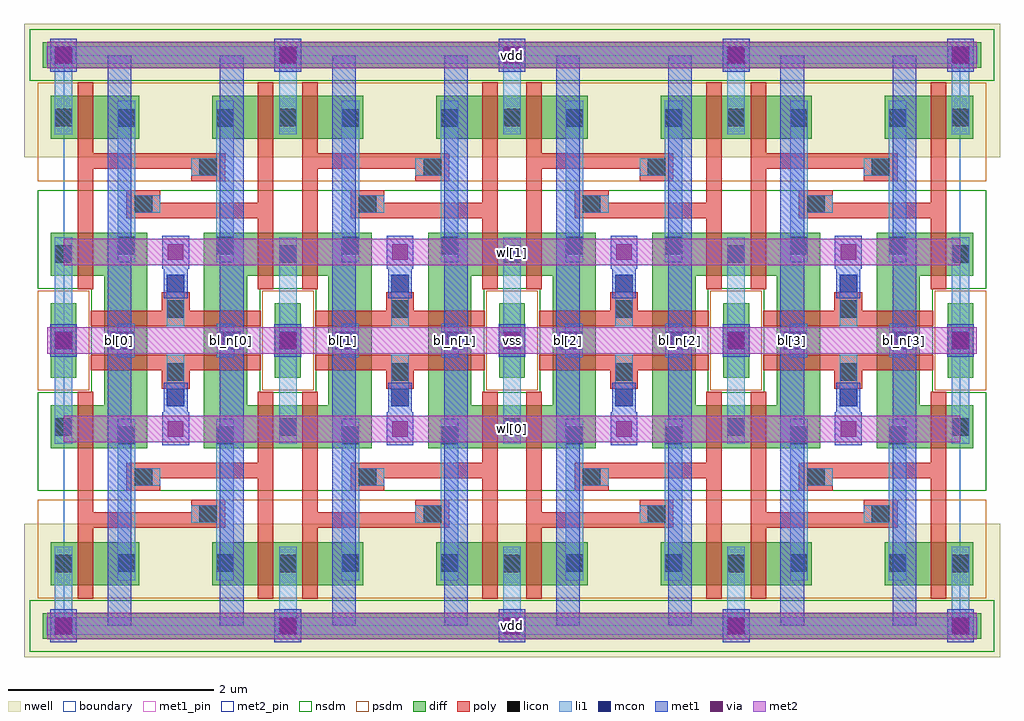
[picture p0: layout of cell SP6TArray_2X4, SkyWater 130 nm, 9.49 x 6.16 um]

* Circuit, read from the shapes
.subckt SP6TArray_2X4 bl[0] bl[1] bl[2] bl[3] bl_n[0] bl_n[1] bl_n[2] bl_n[3] vdd vss wl[0] wl[1]
XM1 n1 n2 vss VSUBS sky130_fd_pr__nfet_01v8 w=0.42 l=0.15
XM2 n3 n4 vss VSUBS sky130_fd_pr__nfet_01v8 w=0.42 l=0.15
XM3 bl[0] wl[0] n1 VSUBS sky130_fd_pr__nfet_01v8 w=0.42 l=0.15
XM4 n3 wl[1] bl[0] VSUBS sky130_fd_pr__nfet_01v8 w=0.42 l=0.15
XM5 bl_n[0] wl[0] n2 VSUBS sky130_fd_pr__nfet_01v8 w=0.42 l=0.15
XM6 n4 wl[1] bl_n[0] VSUBS sky130_fd_pr__nfet_01v8 w=0.42 l=0.15
XM7 vss n1 n2 VSUBS sky130_fd_pr__nfet_01v8 w=0.42 l=0.15
XM8 vss n3 n4 VSUBS sky130_fd_pr__nfet_01v8 w=0.42 l=0.15
XM9 n5 n6 vss VSUBS sky130_fd_pr__nfet_01v8 w=0.42 l=0.15
XM10 n7 n8 vss VSUBS sky130_fd_pr__nfet_01v8 w=0.42 l=0.15
XM11 bl[1] wl[0] n5 VSUBS sky130_fd_pr__nfet_01v8 w=0.42 l=0.15
XM12 n7 wl[1] bl[1] VSUBS sky130_fd_pr__nfet_01v8 w=0.42 l=0.15
XM13 bl_n[1] wl[0] n6 VSUBS sky130_fd_pr__nfet_01v8 w=0.42 l=0.15
XM14 n8 wl[1] bl_n[1] VSUBS sky130_fd_pr__nfet_01v8 w=0.42 l=0.15
XM15 vss n5 n6 VSUBS sky130_fd_pr__nfet_01v8 w=0.42 l=0.15
XM16 vss n7 n8 VSUBS sky130_fd_pr__nfet_01v8 w=0.42 l=0.15
XM17 n9 n10 vss VSUBS sky130_fd_pr__nfet_01v8 w=0.42 l=0.15
XM18 n11 n12 vss VSUBS sky130_fd_pr__nfet_01v8 w=0.42 l=0.15
XM19 bl[2] wl[0] n9 VSUBS sky130_fd_pr__nfet_01v8 w=0.42 l=0.15
XM20 n11 wl[1] bl[2] VSUBS sky130_fd_pr__nfet_01v8 w=0.42 l=0.15
XM21 bl_n[2] wl[0] n10 VSUBS sky130_fd_pr__nfet_01v8 w=0.42 l=0.15
XM22 n12 wl[1] bl_n[2] VSUBS sky130_fd_pr__nfet_01v8 w=0.42 l=0.15
XM23 vss n9 n10 VSUBS sky130_fd_pr__nfet_01v8 w=0.42 l=0.15
XM24 vss n11 n12 VSUBS sky130_fd_pr__nfet_01v8 w=0.42 l=0.15
XM25 n13 n14 vss VSUBS sky130_fd_pr__nfet_01v8 w=0.42 l=0.15
XM26 n15 n16 vss VSUBS sky130_fd_pr__nfet_01v8 w=0.42 l=0.15
XM27 bl[3] wl[0] n13 VSUBS sky130_fd_pr__nfet_01v8 w=0.42 l=0.15
XM28 n15 wl[1] bl[3] VSUBS sky130_fd_pr__nfet_01v8 w=0.42 l=0.15
XM29 bl_n[3] wl[0] n14 VSUBS sky130_fd_pr__nfet_01v8 w=0.42 l=0.15
XM30 n16 wl[1] bl_n[3] VSUBS sky130_fd_pr__nfet_01v8 w=0.42 l=0.15
XM31 vss n13 n14 VSUBS sky130_fd_pr__nfet_01v8 w=0.42 l=0.15
XM32 vss n15 n16 VSUBS sky130_fd_pr__nfet_01v8 w=0.42 l=0.15
XM33 n1 n2 vdd n17 sky130_fd_pr__pfet_01v8 w=0.42 l=0.15
XM34 n3 n4 vdd n18 sky130_fd_pr__pfet_01v8 w=0.42 l=0.15
XM35 vdd n1 n2 n17 sky130_fd_pr__pfet_01v8 w=0.42 l=0.15
XM36 vdd n3 n4 n18 sky130_fd_pr__pfet_01v8 w=0.42 l=0.15
XM37 n5 n6 vdd n17 sky130_fd_pr__pfet_01v8 w=0.42 l=0.15
XM38 n7 n8 vdd n18 sky130_fd_pr__pfet_01v8 w=0.42 l=0.15
XM39 vdd n5 n6 n17 sky130_fd_pr__pfet_01v8 w=0.42 l=0.15
XM40 vdd n7 n8 n18 sky130_fd_pr__pfet_01v8 w=0.42 l=0.15
XM41 n9 n10 vdd n17 sky130_fd_pr__pfet_01v8 w=0.42 l=0.15
XM42 n11 n12 vdd n18 sky130_fd_pr__pfet_01v8 w=0.42 l=0.15
XM43 vdd n9 n10 n17 sky130_fd_pr__pfet_01v8 w=0.42 l=0.15
XM44 vdd n11 n12 n18 sky130_fd_pr__pfet_01v8 w=0.42 l=0.15
XM45 n13 n14 vdd n17 sky130_fd_pr__pfet_01v8 w=0.42 l=0.15
XM46 n15 n16 vdd n18 sky130_fd_pr__pfet_01v8 w=0.42 l=0.15
XM47 vdd n13 n14 n17 sky130_fd_pr__pfet_01v8 w=0.42 l=0.15
XM48 vdd n15 n16 n18 sky130_fd_pr__pfet_01v8 w=0.42 l=0.15
.ends

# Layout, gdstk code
import gdstk
lib = gdstk.Library(unit=1e-6, precision=1e-09)
def R(c, l, rs):  # rectangles x0, y0, x1, y1
    for r in rs: c.add(gdstk.rectangle(r[:2], r[2:], *l))
def A(c, l, x, y, w, h, nx, ny, dx, dy):  # array of equal rectangles
    R(c, l, [(x+i*dx, y+j*dy, x+i*dx+w, y+j*dy+h) for i in range(nx) for j in range(ny)])
def P(c, l, *ps):  # polygons
    for p in ps: c.add(gdstk.Polygon(p, *l))
nwell = (64, 20)
diff = (65, 20)
poly = (66, 20)
licon = (66, 44)
li1 = (67, 20)
mcon = (67, 44)
met1_pin = (68, 16)
met1 = (68, 20)
via = (68, 44)
met2_pin = (69, 16)
met2 = (69, 20)
nsdm = (93, 44)
psdm = (94, 20)
boundary = (235, 4)

sp6tcell = lib.new_cell('SP6TCell')
R(sp6tcell, nwell, [(-0.385,1.78,2.565,3.08)])
R(sp6tcell, diff, [(-0.125,-0.36,0.125,0.36), (2.055,-0.36,2.305,0.36), (-0.125,1.96,0.735,2.38), (1.445,1.96,2.305,2.38), (-0.205,2.65,2.385,2.9)])
P(sp6tcell, diff, [(1.365,-0.125),(1.365,1.05),(2.305,1.05),(2.305,0.63),(1.785,0.63),(1.785,-0.125)],
  [(0.395,-0.125),(0.395,0.63),(-0.125,0.63),(-0.125,1.05),(0.815,1.05),(0.815,-0.125)])
P(sp6tcell, poly, [(1.89,0.5),(1.89,1.19),(0.61,1.19),(0.61,1.46),(0.94,1.46),(0.94,1.34),(1.89,1.34),(1.89,2.51),(2.04,2.51),(2.04,0.5)],
  [(0.14,0.5),(0.14,2.51),(0.29,2.51),(0.29,1.82),(1.57,1.82),(1.57,1.55),(1.24,1.55),(1.24,1.67),(0.29,1.67),(0.29,0.5)],
  [(0.265,0.14),(0.265,0.29),(0.955,0.29),(0.955,0.47),(1.225,0.47),(1.225,0.29),(1.915,0.29),(1.915,0.14)])
R(sp6tcell, licon, [(-0.085,-0.085,0.085,0.085), (0.52,-0.085,0.69,0.085), (1.49,-0.085,1.66,0.085), (2.095,-0.085,2.265,0.085), (1.005,0.22,1.175,0.39), (-0.085,0.755,0.085,0.925), (2.095,0.755,2.265,0.925), (0.525,0.84,0.695,1.01), (1.485,0.84,1.655,1.01), (0.69,1.24,0.86,1.41), (1.32,1.6,1.49,1.77), (0.525,2.08,0.695,2.25), (1.485,2.08,1.655,2.25), (-0.085,2.085,0.085,2.255), (2.095,2.085,2.265,2.255), (-0.085,2.69,0.085,2.86), (2.095,2.69,2.265,2.86)])
R(sp6tcell, li1, [(-0.085,-0.165,0.085,1.005), (2.095,-0.165,2.265,1.005), (1.005,0.14,1.175,0.64)])
P(sp6tcell, li1, [(0.525,0.76),(0.525,2.33),(0.695,2.33),(0.695,1.41),(0.94,1.41),(0.94,1.24),(0.695,1.24),(0.695,0.76)],
  [(1.485,0.76),(1.485,1.6),(1.24,1.6),(1.24,1.77),(1.485,1.77),(1.485,2.33),(1.655,2.33),(1.655,0.76)],
  [(-0.085,2.005),(-0.085,2.69),(-0.165,2.69),(-0.165,2.86),(2.345,2.86),(2.345,2.69),(2.265,2.69),(2.265,2.005),(2.095,2.005),(2.095,2.69),(0.085,2.69),(0.085,2.005)],
  [(0.52,-0.165),(0.52,-0.085),(0.46,-0.085),(0.46,0.085),(0.52,0.085),(0.52,0.165),(0.69,0.165),(0.69,-0.165)],
  [(1.49,-0.165),(1.49,0.165),(1.66,0.165),(1.66,0.085),(1.72,0.085),(1.72,-0.085),(1.66,-0.085),(1.66,-0.165)])
R(sp6tcell, mcon, [(-0.085,-0.085,0.085,0.085), (0.46,-0.085,0.63,0.085), (1.55,-0.085,1.72,0.085), (2.095,-0.085,2.265,0.085), (1.005,0.47,1.175,0.64), (-0.085,2.69,0.085,2.86), (2.095,2.69,2.265,2.86)])
R(sp6tcell, met1_pin, [(0.43,-0.145,0.66,2.775), (1.52,-0.145,1.75,2.775)])
R(sp6tcell, met1, [(-0.13,-0.16,0.13,0.16), (2.05,-0.16,2.31,0.16), (0.43,-0.145,0.66,2.775), (1.52,-0.145,1.75,2.775), (-0.13,2.615,0.13,2.935), (2.05,2.615,2.31,2.935)])
P(sp6tcell, met1, [(0.975,0.41),(0.975,0.7),(0.96,0.7),(0.96,1.02),(1.22,1.02),(1.22,0.7),(1.205,0.7),(1.205,0.41)])
R(sp6tcell, via, [(-0.075,-0.075,0.075,0.075), (2.105,-0.075,2.255,0.075), (1.015,0.785,1.165,0.935), (-0.075,2.7,0.075,2.85), (2.105,2.7,2.255,2.85)])
R(sp6tcell, met2_pin, [(-0.16,-0.13,2.34,0.13), (0,0.73,2.18,0.99), (-0.16,2.645,2.34,2.905)])
R(sp6tcell, met2, [(-0.16,-0.13,2.34,0.13), (0,0.73,2.18,0.99), (-0.16,2.645,2.34,2.905)])
R(sp6tcell, nsdm, [(-0.33,2.525,2.51,3.025)])
P(sp6tcell, nsdm, [(0.27,-0.25),(0.27,0.505),(-0.25,0.505),(-0.25,1.46),(2.43,1.46),(2.43,0.505),(1.91,0.505),(1.91,-0.25)])
R(sp6tcell, psdm, [(-0.25,-0.485,0.25,0.485), (1.93,-0.485,2.43,0.485), (-0.25,1.55,2.43,2.505)])
R(sp6tcell, boundary, [(0,0,2.18,2.775)])
sp6tcell.add(gdstk.Label('vss', (1.09,0), layer=69, texttype=16))
sp6tcell.add(gdstk.Label('vdd', (1.09,2.775), layer=69, texttype=16))
sp6tcell.add(gdstk.Label('wl', (1.09,0.86), layer=69, texttype=16))
sp6tcell.add(gdstk.Label('bl', (0.545,1.315), layer=68, texttype=16))
sp6tcell.add(gdstk.Label('bl_n', (1.635,1.315), layer=68, texttype=16))

sp6tarray_2x1 = lib.new_cell('SP6TArray_2X1')
R(sp6tarray_2x1, met1_pin, [(0.43,0,0.66,5.55), (1.52,0,1.75,5.55)])
R(sp6tarray_2x1, met1, [(0.43,0,0.66,5.55), (1.52,0,1.75,5.55)])
A(sp6tarray_2x1, met2_pin, -0.16, -0.13, 2.5, 0.26, 1, 3, 0, 2.775)
R(sp6tarray_2x1, met2_pin, [(0,1.785,2.18,2.045), (0,3.505,2.18,3.765)])
A(sp6tarray_2x1, met2, -0.16, -0.13, 2.5, 0.26, 1, 3, 0, 2.775)
R(sp6tarray_2x1, met2, [(0,1.785,2.18,2.045), (0,3.505,2.18,3.765)])
R(sp6tarray_2x1, boundary, [(0,0,2.18,5.55)])
sp6tarray_2x1.add(gdstk.Reference(sp6tcell, (0,2.775), x_reflection=True))
sp6tarray_2x1.add(gdstk.Reference(sp6tcell, (0,2.775)))
sp6tarray_2x1.add(gdstk.Label('vss', (1.09,2.775), layer=69, texttype=16))
sp6tarray_2x1.add(gdstk.Label('vdd', (1.09,0), layer=69, texttype=16))
sp6tarray_2x1.add(gdstk.Label('vdd', (1.09,5.55), layer=69, texttype=16))
sp6tarray_2x1.add(gdstk.Label('wl[0]', (1.09,1.915), layer=69, texttype=16))
sp6tarray_2x1.add(gdstk.Label('wl[1]', (1.09,3.635), layer=69, texttype=16))
sp6tarray_2x1.add(gdstk.Label('bl[0]', (0.545,2.775), layer=68, texttype=16))
sp6tarray_2x1.add(gdstk.Label('bl_n[0]', (1.635,2.775), layer=68, texttype=16))

sp6tarray_2x2 = lib.new_cell('SP6TArray_2X2')
A(sp6tarray_2x2, met1_pin, 0.43, 0, 0.23, 5.55, 4, 1, 1.09, 0)
A(sp6tarray_2x2, met1, 0.43, 0, 0.23, 5.55, 4, 1, 1.09, 0)
A(sp6tarray_2x2, met2_pin, -0.16, -0.13, 4.68, 0.26, 1, 3, 0, 2.775)
R(sp6tarray_2x2, met2_pin, [(0,1.785,4.36,2.045), (0,3.505,4.36,3.765)])
A(sp6tarray_2x2, met2, -0.16, -0.13, 4.68, 0.26, 1, 3, 0, 2.775)
R(sp6tarray_2x2, met2, [(0,1.785,4.36,2.045), (0,3.505,4.36,3.765)])
R(sp6tarray_2x2, boundary, [(0,0,4.36,5.55)])
sp6tarray_2x2.add(gdstk.Reference(sp6tarray_2x1, (0,0)))
sp6tarray_2x2.add(gdstk.Reference(sp6tarray_2x1, (2.18,0)))
sp6tarray_2x2.add(gdstk.Label('vss', (2.18,2.775), layer=69, texttype=16))
sp6tarray_2x2.add(gdstk.Label('vdd', (2.18,5.55), layer=69, texttype=16))
sp6tarray_2x2.add(gdstk.Label('vdd', (2.18,0), layer=69, texttype=16))
sp6tarray_2x2.add(gdstk.Label('wl[0]', (2.18,1.915), layer=69, texttype=16))
sp6tarray_2x2.add(gdstk.Label('wl[1]', (2.18,3.635), layer=69, texttype=16))
sp6tarray_2x2.add(gdstk.Label('bl[0]', (0.545,2.775), layer=68, texttype=16))
sp6tarray_2x2.add(gdstk.Label('bl_n[0]', (1.635,2.775), layer=68, texttype=16))
sp6tarray_2x2.add(gdstk.Label('bl[1]', (2.725,2.775), layer=68, texttype=16))
sp6tarray_2x2.add(gdstk.Label('bl_n[1]', (3.815,2.775), layer=68, texttype=16))

sp6tarray_2x4 = lib.new_cell('SP6TArray_2X4')
A(sp6tarray_2x4, met1_pin, 0.43, 0, 0.23, 5.55, 8, 1, 1.09, 0)
A(sp6tarray_2x4, met1, 0.43, 0, 0.23, 5.55, 8, 1, 1.09, 0)
A(sp6tarray_2x4, met2_pin, -0.16, -0.13, 9.04, 0.26, 1, 3, 0, 2.775)
R(sp6tarray_2x4, met2_pin, [(0,1.785,8.72,2.045), (0,3.505,8.72,3.765)])
A(sp6tarray_2x4, met2, -0.16, -0.13, 9.04, 0.26, 1, 3, 0, 2.775)
R(sp6tarray_2x4, met2, [(0,1.785,8.72,2.045), (0,3.505,8.72,3.765)])
R(sp6tarray_2x4, boundary, [(0,0,8.72,5.55)])
sp6tarray_2x4.add(gdstk.Reference(sp6tarray_2x2, (0,0)))
sp6tarray_2x4.add(gdstk.Reference(sp6tarray_2x2, (4.36,0)))
sp6tarray_2x4.add(gdstk.Label('vss', (4.36,2.775), layer=69, texttype=16))
sp6tarray_2x4.add(gdstk.Label('vdd', (4.36,0), layer=69, texttype=16))
sp6tarray_2x4.add(gdstk.Label('vdd', (4.36,5.55), layer=69, texttype=16))
sp6tarray_2x4.add(gdstk.Label('wl[0]', (4.36,1.915), layer=69, texttype=16))
sp6tarray_2x4.add(gdstk.Label('wl[1]', (4.36,3.635), layer=69, texttype=16))
sp6tarray_2x4.add(gdstk.Label('bl[0]', (0.545,2.775), layer=68, texttype=16))
sp6tarray_2x4.add(gdstk.Label('bl_n[0]', (1.635,2.775), layer=68, texttype=16))
sp6tarray_2x4.add(gdstk.Label('bl[1]', (2.725,2.775), layer=68, texttype=16))
sp6tarray_2x4.add(gdstk.Label('bl_n[1]', (3.815,2.775), layer=68, texttype=16))
sp6tarray_2x4.add(gdstk.Label('bl[2]', (4.905,2.775), layer=68, texttype=16))
sp6tarray_2x4.add(gdstk.Label('bl_n[2]', (5.995,2.775), layer=68, texttype=16))
sp6tarray_2x4.add(gdstk.Label('bl[3]', (7.085,2.775), layer=68, texttype=16))
sp6tarray_2x4.add(gdstk.Label('bl_n[3]', (8.175,2.775), layer=68, texttype=16))

lib.write_gds('SP6TArray_2X4.gds')
